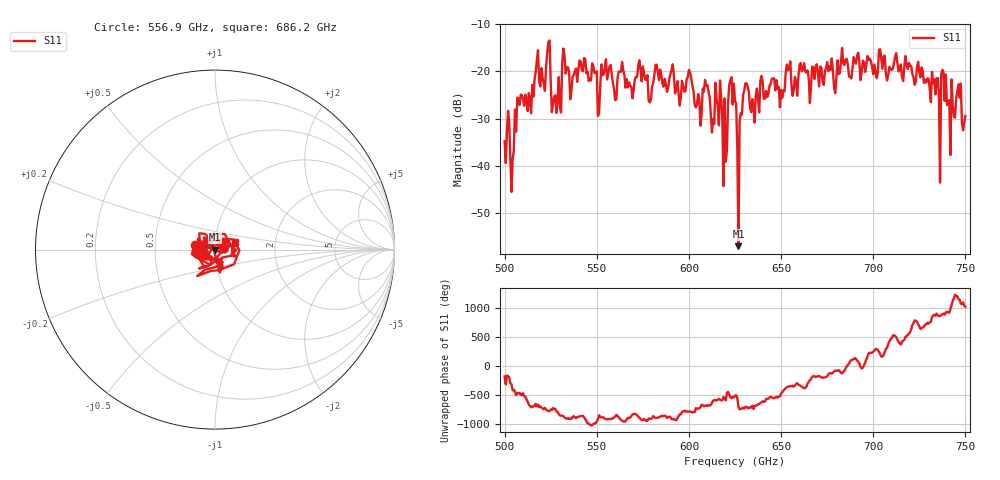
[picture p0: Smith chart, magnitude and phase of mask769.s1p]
!Created with skrf (http://scikit-rf.org).
# GHz S MA R 50.0
!freq magS11 angS11
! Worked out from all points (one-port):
!   401 points, 500 GHz to 750 GHz, reference 50 ohm
!   lowest |S11| = -57.0 dB at 626.9 GHz (marker M1), VSWR 1.00, Z = 50.1 + j0.0418 ohm
!   |S11| at or under -10 dB: start of sweep to end of sweep
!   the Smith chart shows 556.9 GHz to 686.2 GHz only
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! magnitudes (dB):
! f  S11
! 500 GHz  -34.8
! 504.4 GHz  -38.5
! 508.1 GHz  -27.1
! 513.1 GHz  -24.6
! 517.5 GHz  -17.6
! 523.8 GHz  -13.8
! 526.9 GHz  -25.4
! 531.2 GHz  -18.3
! 562.5 GHz  -20.1
! 593.8 GHz  -22.0
! 609.4 GHz  -23.0
! 612.5 GHz  -32.9
! 615.6 GHz  -27.3
! 619.4 GHz  -25.7
! 622.5 GHz  -21.8
! 625 GHz  -26.3
! 626.9 GHz  -57.0
! 630.6 GHz  -22.5
! 634.4 GHz  -25.8
! 656.2 GHz  -25.2
! 687.5 GHz  -21.2
! 718.8 GHz  -19.5
! 733.8 GHz  -24.8
! 735 GHz  -21.4
! 738.1 GHz  -20.2
! 743.1 GHz  -27.3
! 746.2 GHz  -22.7
! 750 GHz  -29.5
